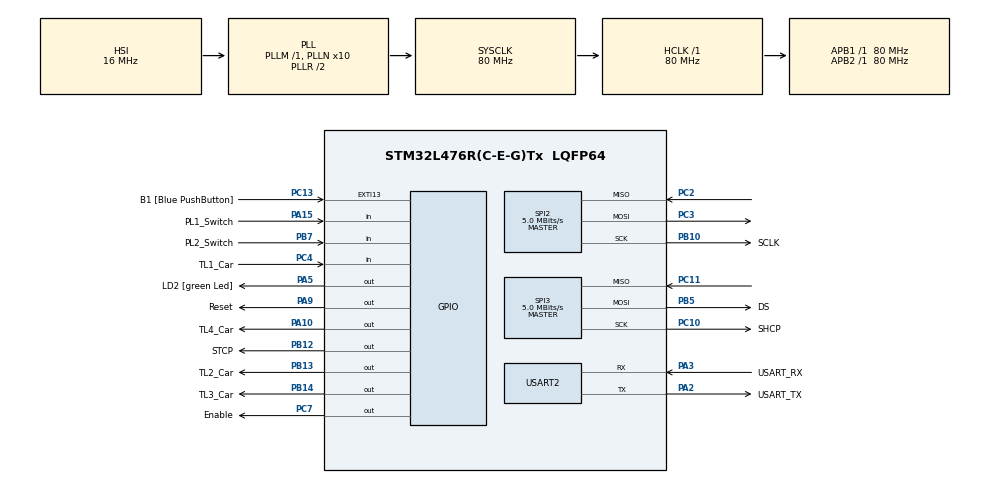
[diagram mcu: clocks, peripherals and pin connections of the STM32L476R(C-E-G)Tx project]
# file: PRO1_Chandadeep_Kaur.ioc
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FREERTOS.Tasks01=defaultTask,24,128,StartDefaultTask,Default,NULL,Dynamic,NULL,NULL
FREERTOS.configGENERATE_RUN_TIME_STATS=1
FREERTOS.configRECORD_STACK_HIGH_ADDRESS=1
FREERTOS.configUSE_NEWLIB_REENTRANT=1
FREERTOS.configUSE_STATS_FORMATTING_FUNCTIONS=1
Mcu.Family=STM32L4
Mcu.Name=STM32L476R(C-E-G)Tx
Mcu.Package=LQFP64
NVIC.PriorityGroup=NVIC_PRIORITYGROUP_4
NVIC.TIM6_DAC_IRQn=true\:15\:0\:false\:false\:true\:false\:false\:true\:true
NVIC.TIM7_IRQn=true\:5\:0\:false\:false\:true\:true\:true\:true\:true
NVIC.TimeBase=TIM6_DAC_IRQn
NVIC.TimeBaseIP=TIM6
PA10.GPIO_Label=TL4_Car
PA10.GPIO_PuPd=GPIO_PULLUP
PA10.GPIO_Speed=GPIO_SPEED_FREQ_MEDIUM
PA10.Signal=GPIO_Output
PA13\ (JTMS-SWDIO).GPIO_Label=TMS
PA13\ (JTMS-SWDIO).Mode=Serial_Wire
PA13\ (JTMS-SWDIO).Signal=SYS_JTMS-SWDIO
PA14\ (JTCK-SWCLK).GPIO_Label=TCK
PA14\ (JTCK-SWCLK).Mode=Serial_Wire
PA14\ (JTCK-SWCLK).Signal=SYS_JTCK-SWCLK
PA15\ (JTDI).GPIO_Label=PL1_Switch
PA15\ (JTDI).GPIO_PuPd=GPIO_PULLUP
PA15\ (JTDI).Signal=GPIO_Input
PA2.GPIO_Label=USART_TX
PA2.GPIO_Mode=GPIO_MODE_AF_PP
PA2.GPIO_PuPd=GPIO_NOPULL
PA2.GPIO_Speed=GPIO_SPEED_FREQ_VERY_HIGH
PA2.Mode=Asynchronous
PA2.Signal=USART2_TX
PA3.GPIO_Label=USART_RX
PA3.GPIO_Mode=GPIO_MODE_AF_PP
PA3.GPIO_PuPd=GPIO_NOPULL
PA3.GPIO_Speed=GPIO_SPEED_FREQ_VERY_HIGH
PA3.Mode=Asynchronous
PA3.Signal=USART2_RX
PA5.GPIO_Label=LD2 [green Led]
PA5.GPIO_ModeDefaultOutputPP=GPIO_MODE_OUTPUT_PP
PA5.GPIO_PuPd=GPIO_NOPULL
PA5.GPIO_Speed=GPIO_SPEED_FREQ_LOW
PA5.Signal=GPIO_Output
PA9.GPIO_Label=Reset
PA9.GPIO_PuPd=GPIO_PULLUP
PA9.GPIO_Speed=GPIO_SPEED_FREQ_VERY_HIGH
PA9.PinState=GPIO_PIN_SET
PA9.Signal=GPIO_Output
PB10.GPIO_Label=SCLK
PB10.Mode=Full_Duplex_Master
PB10.Signal=SPI2_SCK
PB12.GPIO_Label=STCP
PB12.GPIO_PuPd=GPIO_PULLDOWN
PB12.GPIO_Speed=GPIO_SPEED_FREQ_MEDIUM
PB12.Signal=GPIO_Output
PB13.GPIO_Label=TL2_Car
PB13.GPIO_PuPd=GPIO_PULLUP
PB13.GPIO_Speed=GPIO_SPEED_FREQ_MEDIUM
PB13.Signal=GPIO_Output
PB14.GPIO_Label=TL3_Car
PB14.GPIO_PuPd=GPIO_PULLUP
PB14.Signal=GPIO_Output
PB3\ (JTDO-TRACESWO).GPIO_Label=SWO
PB3\ (JTDO-TRACESWO).Signal=SYS_JTDO-SWO
PB5.GPIO_Label=DS
PB5.GPIO_PuPd=GPIO_PULLUP
PB5.Mode=Full_Duplex_Master
PB5.Signal=SPI3_MOSI
PB7.GPIO_Label=PL2_Switch
PB7.GPIO_PuPd=GPIO_PULLUP
PB7.Signal=GPIO_Input
PC10.GPIO_Label=SHCP
PC10.GPIO_PuPd=GPIO_PULLUP
PC10.Mode=Full_Duplex_Master
PC10.Signal=SPI3_SCK
PC11.Mode=Full_Duplex_Master
PC11.Signal=SPI3_MISO
PC13.GPIO_Label=B1 [Blue PushButton]
PC13.GPIO_ModeDefaultEXTI=GPIO_MODE_IT_FALLING
PC13.GPIO_PuPd=GPIO_NOPULL
PC13.Signal=GPXTI13
PC14-OSC32_IN\ (PC14).Mode=LSE-External-Oscillator
PC14-OSC32_IN\ (PC14).Signal=RCC_OSC32_IN
PC15-OSC32_OUT\ (PC15).Mode=LSE-External-Oscillator
PC15-OSC32_OUT\ (PC15).Signal=RCC_OSC32_OUT
PC2.Mode=Full_Duplex_Master
PC2.Signal=SPI2_MISO
PC3.Mode=Full_Duplex_Master
PC3.Signal=SPI2_MOSI
PC4.GPIO_Label=TL1_Car
PC4.GPIO_PuPd=GPIO_PULLUP
PC4.Signal=GPIO_Input
PC7.GPIO_Label=Enable
PC7.GPIO_PuPd=GPIO_PULLDOWN
PC7.GPIO_Speed=GPIO_SPEED_FREQ_MEDIUM
PC7.Signal=GPIO_Output
PH0-OSC_IN\ (PH0).Signal=RCC_OSC_IN
PH1-OSC_OUT\ (PH1).Signal=RCC_OSC_OUT
ProjectManager.HeapSize=0x200
ProjectManager.StackSize=0x400
ProjectManager.TargetToolchain=STM32CubeIDE
RCC.ADCFreq_Value=64000000
RCC.AHBFreq_Value=80000000
RCC.APB1Freq_Value=80000000
RCC.APB1TimFreq_Value=80000000
RCC.APB2Freq_Value=80000000
RCC.APB2TimFreq_Value=80000000
RCC.CortexFreq_Value=80000000
RCC.HCLKFreq_Value=80000000
RCC.HSE_VALUE=8000000
RCC.HSI_VALUE=16000000
RCC.MSI_VALUE=4000000
RCC.PLLN=10
RCC.PLLSourceVirtual=RCC_PLLSOURCE_HSI
RCC.PREFETCH_ENABLE=1
RCC.SYSCLKFreq_VALUE=80000000
RCC.SYSCLKSource=RCC_SYSCLKSOURCE_PLLCLK
RCC.USBFreq_Value=64000000
RCC.VCOOutputFreq_Value=160000000
SPI2.BaudRatePrescaler=SPI_BAUDRATEPRESCALER_16
SPI2.CalculateBaudRate=5.0 MBits/s
SPI2.DataSize=SPI_DATASIZE_8BIT
SPI2.Direction=SPI_DIRECTION_2LINES
SPI2.Mode=SPI_MODE_MASTER
SPI2.VirtualType=VM_MASTER
SPI3.BaudRatePrescaler=SPI_BAUDRATEPRESCALER_16
SPI3.CalculateBaudRate=5.0 MBits/s
SPI3.DataSize=SPI_DATASIZE_8BIT
SPI3.Direction=SPI_DIRECTION_2LINES
SPI3.Mode=SPI_MODE_MASTER
SPI3.VirtualType=VM_MASTER
TIM7.Period=99
TIM7.Prescaler=3
USART2.VirtualMode-Asynchronous=VM_ASYNC
VP_FREERTOS_VS_CMSIS_V2.Mode=CMSIS_V2
VP_SYS_VS_tim6.Mode=TIM6
VP_TIM7_VS_ClockSourceINT.Mode=Enable_Timer
board=NUCLEO-L476RG

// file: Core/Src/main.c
/* USER CODE BEGIN Header */
/**
  ******************************************************************************
  * @file           : main.c
  * @brief          : Main program body
  ******************************************************************************
  * @attention
  *
  * Copyright (c) 2025 STMicroelectronics.
  * All rights reserved.
  *
  * This software is licensed under terms that can be found in the LICENSE file
  * in the root directory of this software component.
  * If no LICENSE file comes with this software, it is provided AS-IS.
  *
  ******************************************************************************
  */
/* USER CODE END Header */
#include "main.h"
#include "cmsis_os.h"
#include "spi.h"
#include "tim.h"
#include "usart.h"
#include "gpio.h"

/* USER CODE BEGIN Includes */
#include "functions.h"
#include "test.h"
#include "car_statemachine.h"
#include "statemachine_pedestrian.h"
/* USER CODE END Includes */

/* USER CODE BEGIN PD */
#undef RUN_TEST_PROGRAM //use undef to not use the test program
/* USER CODE END PD */

void SystemClock_Config(void);
void MX_FREERTOS_Init(void);

/* USER CODE BEGIN 0 */

#ifdef RUN_TEST_PROGRAM
extern void initialise_monitor_handles(void);
#endif

/* USER CODE END 0 */

int main(void)
{

  /* MCU Configuration--------------------------------------------------------*/

  /* Reset of all peripherals, Initializes the Flash interface and the Systick. */
  HAL_Init();

  /* Configure the system clock */
  SystemClock_Config();

  /* Initialize all configured peripherals */
  MX_GPIO_Init();
  MX_USART2_UART_Init();
  MX_SPI2_Init();
  MX_SPI3_Init();
  MX_TIM7_Init();
  /* USER CODE BEGIN 2 */
#ifdef RUN_TEST_PROGRAM
  Test_program();
#else
  while(1) {
          PedestrianCrossing1();
          //PedestrianCrossing2();
          //RoadCrossing();
  }
#endif

  /* USER CODE END 2 */

  /* Init scheduler */
  osKernelInitialize();  /* Call init function for freertos objects (in cmsis_os2.c) */
  MX_FREERTOS_Init();

  /* Start scheduler */
  osKernelStart();

  /* We should never get here as control is now taken by the scheduler */

  /* Infinite loop */
    while (1)
    {

    }
}

void SystemClock_Config(void)
{
  RCC_OscInitTypeDef RCC_OscInitStruct = {0};
  RCC_ClkInitTypeDef RCC_ClkInitStruct = {0};

  /** Configure the main internal regulator output voltage
  */
  if (HAL_PWREx_ControlVoltageScaling(PWR_REGULATOR_VOLTAGE_SCALE1) != HAL_OK)
  {
    Error_Handler();
  }

  /** Initializes the RCC Oscillators according to the specified parameters
  * in the RCC_OscInitTypeDef structure.
  */
  RCC_OscInitStruct.OscillatorType = RCC_OSCILLATORTYPE_HSI;
  RCC_OscInitStruct.HSIState = RCC_HSI_ON;
  RCC_OscInitStruct.HSICalibrationValue = RCC_HSICALIBRATION_DEFAULT;
  RCC_OscInitStruct.PLL.PLLState = RCC_PLL_ON;
  RCC_OscInitStruct.PLL.PLLSource = RCC_PLLSOURCE_HSI;
  RCC_OscInitStruct.PLL.PLLM = 1;
  RCC_OscInitStruct.PLL.PLLN = 10;
  RCC_OscInitStruct.PLL.PLLP = RCC_PLLP_DIV7;
  RCC_OscInitStruct.PLL.PLLQ = RCC_PLLQ_DIV2;
  RCC_OscInitStruct.PLL.PLLR = RCC_PLLR_DIV2;
  if (HAL_RCC_OscConfig(&RCC_OscInitStruct) != HAL_OK)
  {
    Error_Handler();
  }

  /** Initializes the CPU, AHB and APB buses clocks
  */
  RCC_ClkInitStruct.ClockType = RCC_CLOCKTYPE_HCLK|RCC_CLOCKTYPE_SYSCLK
                              |RCC_CLOCKTYPE_PCLK1|RCC_CLOCKTYPE_PCLK2;
  RCC_ClkInitStruct.SYSCLKSource = RCC_SYSCLKSOURCE_PLLCLK;
  RCC_ClkInitStruct.AHBCLKDivider = RCC_SYSCLK_DIV1;
  RCC_ClkInitStruct.APB1CLKDivider = RCC_HCLK_DIV1;
  RCC_ClkInitStruct.APB2CLKDivider = RCC_HCLK_DIV1;

  if (HAL_RCC_ClockConfig(&RCC_ClkInitStruct, FLASH_LATENCY_4) != HAL_OK)
  {
    Error_Handler();
  }
}

void HAL_TIM_PeriodElapsedCallback(TIM_HandleTypeDef *htim)
{
  if (htim->Instance == TIM6)
  {
    HAL_IncTick();
  }
}

void Error_Handler(void)
{
  __disable_irq();
  while (1)
  {
  }
}

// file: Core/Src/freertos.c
/* USER CODE BEGIN Header */
/**
  ******************************************************************************
  * File Name          : freertos.c
  * Description        : Code for freertos applications
  ******************************************************************************
  * @attention
  *
  * Copyright (c) 2025 STMicroelectronics.
  * All rights reserved.
  *
  * This software is licensed under terms that can be found in the LICENSE file
  * in the root directory of this software component.
  * If no LICENSE file comes with this software, it is provided AS-IS.
  *
  ******************************************************************************
  */
/* USER CODE END Header */

#include "FreeRTOS.h"
#include "task.h"
#include "main.h"
#include "cmsis_os.h"

/* USER CODE BEGIN Variables */
volatile unsigned long ulStatsTimerTicks;
extern TIM_HandleTypeDef htim7;
/* USER CODE END Variables */
/* Definitions for defaultTask */
osThreadId_t defaultTaskHandle;
const osThreadAttr_t defaultTask_attributes = {
  .name = "defaultTask",
  .stack_size = 128 * 4,
  .priority = (osPriority_t) osPriorityNormal,
};

void StartDefaultTask(void *argument);

void MX_FREERTOS_Init(void); /* (MISRA C 2004 rule 8.1) */

/* Hook prototypes */
void configureTimerForRunTimeStats(void);
unsigned long getRunTimeCounterValue(void);

/* USER CODE BEGIN 1 */
/* Functions needed when configGENERATE_RUN_TIME_STATS is on */
__weak void configureTimerForRunTimeStats(void)
{
	ulStatsTimerTicks = 0;
	HAL_TIM_Base_Start_IT(&htim7);
}

__weak unsigned long getRunTimeCounterValue(void)
{
	return ulStatsTimerTicks;
}
/* USER CODE END 1 */

void MX_FREERTOS_Init(void) {

  /* Create the thread(s) */
  /* creation of defaultTask */
  defaultTaskHandle = osThreadNew(StartDefaultTask, NULL, &defaultTask_attributes);

}

void StartDefaultTask(void *argument)
{
  for(;;)
  {
    osDelay(1);
  }
}
